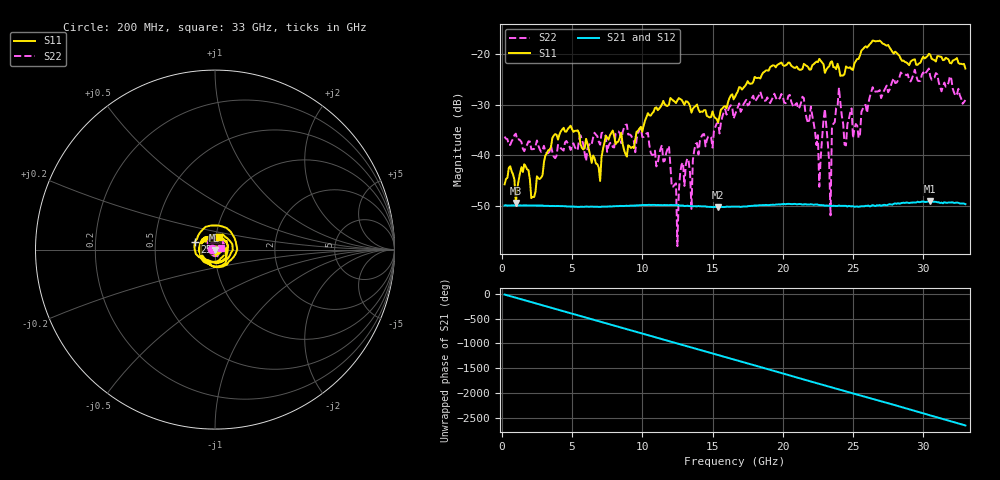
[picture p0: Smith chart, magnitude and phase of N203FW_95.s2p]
# GHZ S RI R 50
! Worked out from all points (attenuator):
!   329 points, 200 MHz to 33 GHz, reference 50 ohm
!   highest |S21| = -49.12 dB at 30.5 GHz (marker M1); lowest = -50.3 dB at 15.4 GHz (marker M2)
!   lowest |S11| = -49.4 dB at 1 GHz (marker M3), VSWR 1.01, Z = 49.8 - j0.293 ohm
!   |S11| at or under -10 dB: start of sweep to end of sweep
!   |S22| runs from -58.0 to -22.8 dB; largest |S21 - S12| = 9e-05
!   S11 on the Smith chart (normalised r, x): 200 MHz: 1.01, +0.00; 25.9 GHz: 0.80, +0.07; 33 GHz: 1.04, +0.14
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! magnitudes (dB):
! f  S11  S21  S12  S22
! 200 MHz  -45.8  -49.9  -49.9  -36.3
! 1 GHz  -49.4  -49.9  -49.9  -35.7
! 5.7 GHz  -38.5  -50.2  -50.2  -36.9
! 11.2 GHz  -30.8  -49.9  -49.8  -39.8
! 11.9 GHz  -30.0  -49.9  -49.9  -38.2
! 12.5 GHz  -29.1  -49.9  -49.9  -58.0
! 12.8 GHz  -29.0  -50.0  -49.9  -41.8
! 13.5 GHz  -31.6  -50.1  -50.1  -50.6
! 13.8 GHz  -30.2  -50.1  -50.1  -37.7
! 15.4 GHz  -33.5  -50.3  -50.3  -33.6
! 16.6 GHz  -28.4  -50.2  -50.2  -32.0
! 22.1 GHz  -22.2  -49.7  -49.7  -32.1
! 22.6 GHz  -20.9  -49.9  -49.8  -46.2
! 23 GHz  -23.7  -50.0  -50.0  -30.8
! 23.4 GHz  -21.6  -50.0  -50.0  -51.9
! 23.5 GHz  -21.4  -50.0  -50.0  -34.5
! 24 GHz  -22.7  -50.0  -50.0  -26.6
! 24.4 GHz  -23.9  -50.1  -50.0  -37.9
! 25.9 GHz  -18.4  -50.0  -50.1  -30.0
! 27.6 GHz  -18.6  -49.7  -49.7  -27.0
! 30.5 GHz  -20.1  -49.1  -49.2  -24.4
! 33 GHz  -22.8  -49.7  -49.7  -29.1
